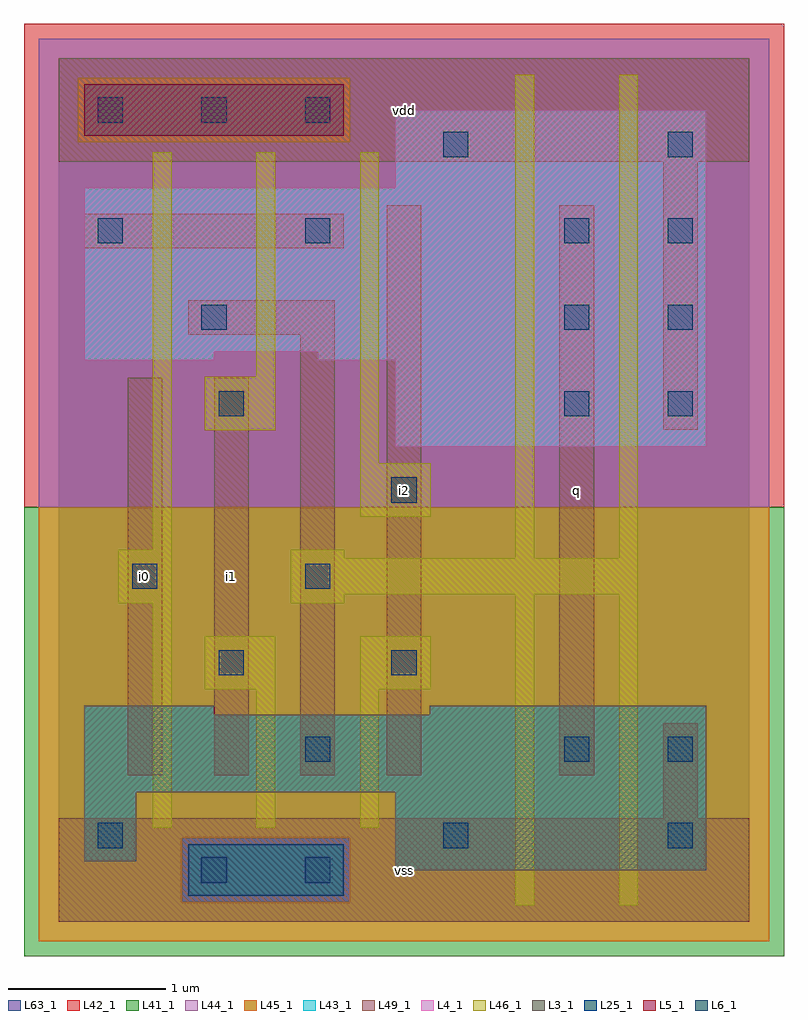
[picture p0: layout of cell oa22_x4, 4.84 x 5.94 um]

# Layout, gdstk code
import gdstk
lib = gdstk.Library(unit=1e-6, precision=1e-09)
def R(c, l, rs):  # rectangles x0, y0, x1, y1
    for r in rs: c.add(gdstk.rectangle(r[:2], r[2:], *l))
def A(c, l, x, y, w, h, nx, ny, dx, dy):  # array of equal rectangles
    R(c, l, [(x+i*dx, y+j*dy, x+i*dx+w, y+j*dy+h) for i in range(nx) for j in range(ny)])
L3_1 = (3, 1)
L4_1 = (4, 1)
L5_1 = (5, 1)
L6_1 = (6, 1)
L25_1 = (25, 1)
L41_1 = (41, 1)
L42_1 = (42, 1)
L43_1 = (43, 1)
L44_1 = (44, 1)
L45_1 = (45, 1)
L46_1 = (46, 1)
L49_1 = (49, 1)
L63_1 = (63, 1)

oa22_x4 = lib.new_cell('oa22_x4')
R(oa22_x4, L3_1, [(2.145,0.33,4.125,0.825), (0.165,0.385,0.495,0.825), (0.165,0.825,4.125,1.32), (0.165,1.32,0.99,1.375), (2.365,1.32,4.125,1.375)])
R(oa22_x4, L4_1, [(2.145,3.025,4.125,3.575), (0.165,3.575,0.99,3.63), (1.65,3.575,4.125,3.63), (0.165,3.63,4.125,4.675), (2.145,4.675,4.125,5.17)])
R(oa22_x4, L5_1, [(0.165,5.005,1.815,5.335)])
R(oa22_x4, L6_1, [(0.825,0.165,1.815,0.495)])
A(oa22_x4, L25_1, 3.22, 3.22, 0.16, 0.16, 1, 3, 0, 0.55)
A(oa22_x4, L25_1, 3.88, 3.22, 0.16, 0.16, 1, 4, 0, 0.55)
A(oa22_x4, L25_1, 0.25, 5.09, 0.16, 0.16, 3, 1, 0.66, 0)
R(oa22_x4, L25_1, [(0.91,0.25,1.07,0.41), (1.57,0.25,1.73,0.41), (0.25,0.47,0.41,0.63), (2.45,0.47,2.61,0.63), (3.88,0.47,4.04,0.63), (1.57,1.02,1.73,1.18), (3.22,1.02,3.38,1.18), (3.88,1.02,4.04,1.18), (1.02,1.57,1.18,1.73), (2.12,1.57,2.28,1.73), (0.47,2.12,0.63,2.28), (1.57,2.12,1.73,2.28), (2.12,2.67,2.28,2.83), (1.02,3.22,1.18,3.38), (0.91,3.77,1.07,3.93), (0.25,4.32,0.41,4.48), (1.57,4.32,1.73,4.48), (2.45,4.87,2.61,5.03)])
R(oa22_x4, L41_1, [(-0.22,-0.22,4.62,2.64)])
R(oa22_x4, L42_1, [(-0.22,2.64,4.62,5.72)])
R(oa22_x4, L43_1, [(0.825,0.165,1.815,0.495), (2.145,0.33,4.125,0.825), (0.165,0.385,0.495,0.825), (0.165,0.825,4.125,1.32), (0.165,1.32,0.99,1.375), (2.365,1.32,4.125,1.375), (2.145,3.025,4.125,3.575), (0.165,3.575,0.99,3.63), (1.65,3.575,4.125,3.63), (0.165,3.63,4.125,4.675), (2.145,4.675,4.125,5.17), (0.165,5.005,1.815,5.335)])
R(oa22_x4, L44_1, [(0.785,0.125,1.855,0.535), (-0.125,2.64,4.525,4.965), (-0.125,4.965,0.125,5.375), (1.855,4.965,4.525,5.375), (-0.125,5.375,4.525,5.625)])
R(oa22_x4, L45_1, [(-0.125,-0.125,4.525,0.125), (-0.125,0.125,0.785,0.535), (1.855,0.125,4.525,0.535), (-0.125,0.535,4.525,2.64), (0.125,4.965,1.855,5.375)])
R(oa22_x4, L46_1, [(2.91,0.105,3.03,2.085), (3.57,0.105,3.69,2.085), (0.6,0.6,0.72,2.03), (1.26,0.6,1.38,1.48), (1.92,0.6,2.04,1.48), (0.93,1.48,1.38,1.82), (1.92,1.48,2.37,1.82), (0.38,2.03,0.72,2.37), (1.48,2.03,1.82,2.085), (1.48,2.085,3.69,2.315), (1.48,2.315,1.82,2.37), (2.91,2.315,3.03,5.395), (3.57,2.315,3.69,5.395), (0.6,2.37,0.72,4.9), (1.92,2.58,2.37,2.92), (1.92,2.92,2.04,4.9), (0.93,3.13,1.38,3.47), (1.26,3.47,1.38,4.9)])
R(oa22_x4, L49_1, [(0,0,4.4,0.66), (3.85,0.66,4.07,1.265), (0.44,0.935,0.66,3.465), (0.99,0.935,1.21,3.465), (1.54,0.935,1.76,3.74), (2.09,0.935,2.31,4.565), (3.19,0.935,3.41,4.565), (3.85,3.135,4.07,4.84), (0.825,3.74,1.76,3.96), (0.165,4.29,1.815,4.51), (0,4.84,4.4,5.5)])
R(oa22_x4, L63_1, [(0,0,4.4,5.5)])
oa22_x4.add(gdstk.Label('i0', (0.55,2.2), layer=49, texttype=1))
oa22_x4.add(gdstk.Label('i1', (1.1,2.2), layer=49, texttype=1))
oa22_x4.add(gdstk.Label('vss', (2.2,0.33), layer=49, texttype=1))
oa22_x4.add(gdstk.Label('i2', (2.2,2.75), layer=49, texttype=1))
oa22_x4.add(gdstk.Label('vdd', (2.2,5.17), layer=49, texttype=1))
oa22_x4.add(gdstk.Label('q', (3.3,2.75), layer=49, texttype=1))

lib.write_gds('oa22_x4.gds')
